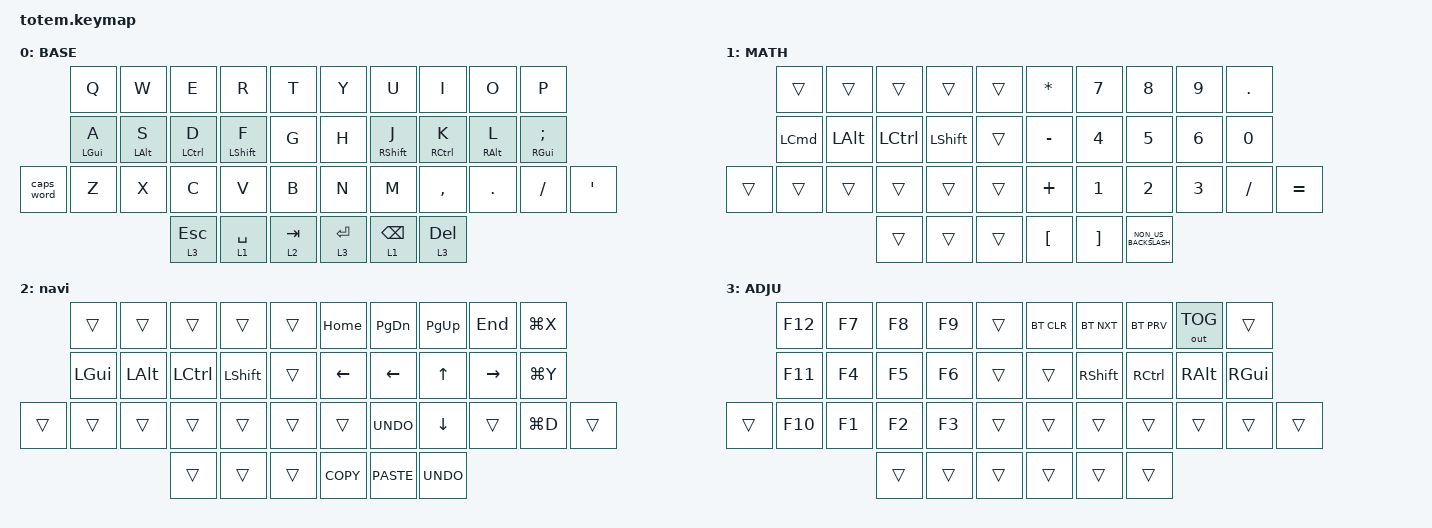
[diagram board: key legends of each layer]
//
//                                                        ▀▀▀▀▀     ▀▀▀▀▀          ▀▀█▀▀
//                                                        ▄▀▀▀▄  ▄  ▄▀▀▀▄  ▄  ▄▀▀▀▄  █  ▄▀▀▀▄
//                                                        █   █  █  █   █  █  █   █  █  █   █
//                                                         ▀▀▀   █   ▀▀▀   █   ▀▀▀   ▀   ▀▀▀
//                                                               █      ▄▄▄█▄▄▄    █   █  
//                                                               ▀      █  █  █     █▄█
//                                                             ▀▀▀▀▀    █  █  █      ▀
//                                                                      ▀  ▀  ▀
//
// ▄▄▄▄▄▄▄▄▄▄▄▄▄▄▄▄▄▄▄▄▄▄▄▄▄▄▄▄▄▄▄▄▄▄▄▄▄▄▄▄▄▄▄▄▄▄▄▄▄▄▄▄▄▄▄▄▄▄▄▄▄▄▄▄▄▄▄▄▄▄▄▄▄▄▄▄▄▄▄▄▄▄▄▄▄▄▄▄▄▄▄▄▄▄▄▄▄▄▄▄▄▄▄▄▄▄▄▄▄▄▄▄▄▄▄▄▄▄▄▄▄▄▄▄▄▄▄▄▄▄▄▄▄▄▄▄▄▄▄▄▄▄▄▄▄▄▄▄▄

#define BASE 0
#define MATH 1
#define SYMB 2
#define ADJU  3

#include <behaviors.dtsi>
#include <dt-bindings/zmk/bt.h>
#include <dt-bindings/zmk/keys.h>
#include <dt-bindings/zmk/outputs.h>

/ {
    combos {
        compatible = "zmk,combos";

        combo_esc {
            timeout-ms = <50>;
            key-positions = <0 1>;
            bindings = <&kp ESC>;
        };

        combo_lng {
            bindings = <&kp CLCK>;
            key-positions = <34 35>;
        };
    };

    behaviors {
        ss_hs_modmorph: ss_hs_modmorph {
            compatible = "zmk,behavior-mod-morph";
            label = "SS_HS_MODMORPH";
            bindings = <&kp M>, <&kp RIGHT_BRACKET>;

            #binding-cells = <0>;
            mods = <(MOD_LSFT|MOD_RSFT)>;
        };

        kh_hs_tapdance: kh_hs_tapdance {
            compatible = "zmk,behavior-tap-dance";
            label = "KH_HS_TAPDANCE";
            #binding-cells = <0>;
            tapping-term-ms = <200>;
            bindings = <&kp LEFT_BRACKET>, <&kp RIGHT_BRACKET>;
        };

        hrm: hrm {
            compatible = "zmk,behavior-hold-tap";
            #binding-cells = <2>;
            flavor = "tap-preferred";
            tapping-term-ms = <200>;
            quick-tap-ms = <200>;
            require-prior-idle-ms = <125>;
            bindings = <&kp>, <&kp>;
        };
    };

    keymap {
        compatible = "zmk,keymap";

        base {
            label = "BASE";
            bindings = <
            &kp Q        &kp W        &kp E         &kp R         &kp T        &kp Y        &kp U            &kp I         &kp O        &kp P
            &hrm LGUI A  &hrm LALT S  &hrm LCTRL D  &hrm LSHFT F  &kp G        &kp H        &hrm RSHFT J     &hrm RCTRL K  &hrm RALT L  &hrm RGUI SEMICOLON
&caps_word  &kp Z        &kp X        &kp C         &kp V         &kp B        &kp N        &kp M            &kp COMMA     &kp DOT      &kp FSLH             &kp SQT
                                      &lt 3 ESCAPE  &lt 1 SPACE   &lt 2 TAB    &lt 3 ENTER  &lt 1 BACKSPACE  &lt 3 DELETE
            >;
        };

        math {
            label = "MATH";
            bindings = <
        &trans            &trans        &trans     &trans          &trans    &kp ASTERISK      &kp NUMBER_7       &kp NUMBER_8          &kp NUMBER_9  &kp DOT
        &kp LEFT_COMMAND  &kp LEFT_ALT  &kp LCTRL  &kp LEFT_SHIFT  &trans    &kp MINUS         &kp NUMBER_4       &kp NUMBER_5          &kp NUMBER_6  &kp NUMBER_0
&trans  &trans            &trans        &trans     &trans          &trans    &kp PLUS          &kp NUMBER_1       &kp NUMBER_2          &kp NUMBER_3  &kp SLASH     &kp EQUAL
                                        &trans     &trans          &trans    &kp LEFT_BRACKET  &kp RIGHT_BRACKET  &kp NON_US_BACKSLASH
            >;
        };

        navi {
            bindings = <
        &trans    &trans    &trans     &trans          &trans    &kp HOME    &kp PAGE_DOWN  &kp PG_UP   &kp END    &kp LG(X)
        &kp LGUI  &kp LALT  &kp LCTRL  &kp LEFT_SHIFT  &trans    &kp LEFT    &kp LEFT       &kp UP      &kp RIGHT  &kp LG(Y)
&trans  &trans    &trans    &trans     &trans          &trans    &trans      &kp K_UNDO     &kp DOWN    &trans     &kp LG(D)  &trans
                            &trans     &trans          &trans    &kp K_COPY  &kp K_PASTE    &kp K_UNDO
            >;
        };

        func {
            label = "ADJU";
            bindings = <
        &kp F12  &kp F7  &kp F8  &kp F9  &trans    &bt BT_CLR  &bt BT_NXT  &bt BT_PRV  &out OUT_TOG  &trans
        &kp F11  &kp F4  &kp F5  &kp F6  &trans    &trans      &kp RSHIFT  &kp RCTRL   &kp RALT      &kp RGUI
&trans  &kp F10  &kp F1  &kp F2  &kp F3  &trans    &trans      &trans      &trans      &trans        &trans    &trans
                         &trans  &trans  &trans    &trans      &trans      &trans
            >;
        };
    };
};
